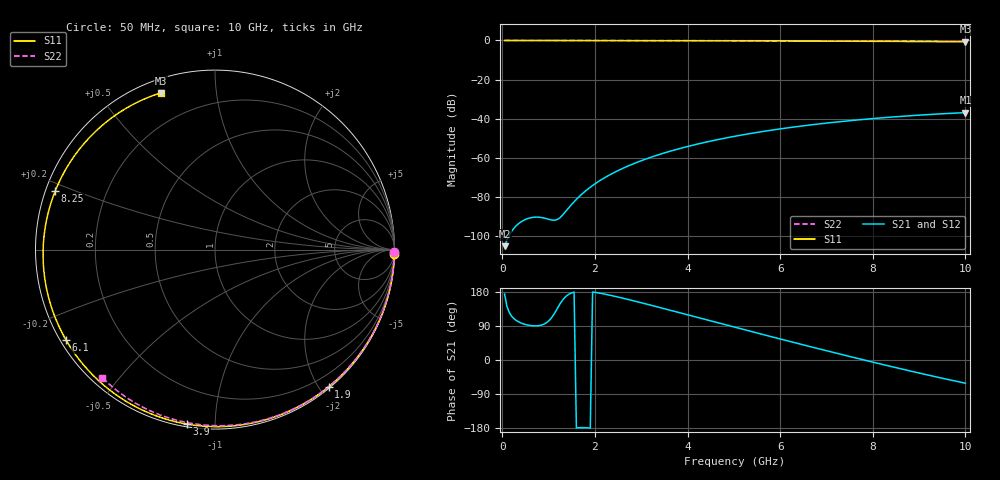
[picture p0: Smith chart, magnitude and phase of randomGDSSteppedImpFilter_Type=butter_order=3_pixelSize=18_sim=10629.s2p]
! freq	dB(S11)	phase(S11)	dB(S12)	phase(S12)
!  dB(S21)	phase(S21)	dB(S22)	phase(S22)
!S-par simulation data
#  GHz  S  DB  R 50
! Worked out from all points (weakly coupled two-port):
!   200 points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, 50 MHz to 10 GHz, reference 50 ohm
!   highest |S21| = -36.87 dB at 10 GHz (marker M1); lowest = -105.1 dB at 50 MHz (marker M2)
!   lowest |S11| = -0.7 dB at 10 GHz (marker M3), VSWR 25.34, Z = 2.97 + j35.5 ohm
!   |S11| at or under -10 dB: nowhere
!   |S22| runs from -0.4 to 0.0 dB; largest |S21 - S12| = 0
!   S11 on the Smith chart (normalised r, x): 50 MHz: 0, -85; 1.9 GHz: 0.02, -2.13; 3.9 GHz: 0.01, -0.85; 6.1 GHz: 0.02, -0.28; 8.25 GHz: 0.03, +0.18; 10 GHz: 0.06, +0.71
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0.05  -0.00 -1.4  -105.15 174.1  -105.15 174.1  -0.00 -0.8
0.8  -0.02 -21.6  -90.35 91.0  -90.35 91.0  -0.01 -12.1
1.65  -0.06 -43.9  -80.04 -178.8  -80.04 -178.8  -0.03 -24.7
1.75  -0.06 -46.5  -77.87 -178.4  -77.87 -178.4  -0.03 -26.2
1.9  -0.06 -50.4  -75.01 -179.8  -75.01 -179.8  -0.04 -28.4
2.2  -0.07 -58.0  -70.30 174.2  -70.30 174.2  -0.04 -32.8
2.55  -0.08 -66.7  -65.94 164.7  -65.94 164.7  -0.05 -37.8
2.95  -0.10 -76.5  -61.92 152.7  -61.92 152.7  -0.06 -43.5
3.4  -0.11 -87.3  -58.22 138.5  -58.22 138.5  -0.07 -49.9
3.9  -0.13 -99.1  -54.81 122.5  -54.81 122.5  -0.08 -56.8
4.45  -0.16 -111.7  -51.69 104.8  -51.69 104.8  -0.09 -64.2
5.05  -0.19 -125.3  -48.84 85.6  -48.84 85.6  -0.11 -72.2
5.6  -0.22 -137.6  -46.62 68.1  -46.62 68.1  -0.13 -79.3
6.1  -0.26 -148.8  -44.87 52.4  -44.87 52.4  -0.15 -85.6
6.7  -0.31 -162.5  -43.05 33.7  -43.05 33.7  -0.18 -93.0
7.5  -0.38 178.6  -41.01 9.3  -41.01 9.3  -0.23 -102.7
8.25  -0.46 159.8  -39.45 -12.9  -39.45 -12.9  -0.28 -111.5
8.35  -0.47 157.2  -39.26 -15.8  -39.26 -15.8  -0.29 -112.6
8.75  -0.52 146.4  -38.57 -27.4  -38.57 -27.4  -0.32 -117.2
9.15  -0.57 135.1  -37.95 -38.6  -37.95 -38.6  -0.36 -121.8
9.6  -0.63 121.7  -37.34 -50.8  -37.34 -50.8  -0.40 -126.9
10  -0.69 109.1  -36.87 -61.2  -36.87 -61.2  -0.45 -131.4
